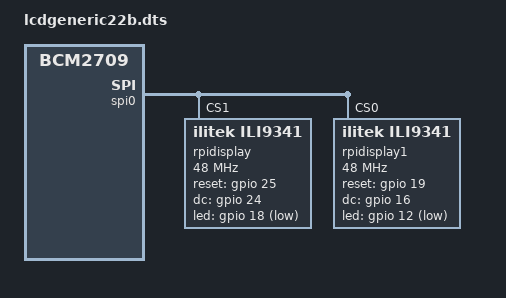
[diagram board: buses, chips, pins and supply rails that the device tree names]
/*
 * Device Tree overlay for 2.2" SPI TFT
 */

/dts-v1/;
/plugin/;

/ {
	compatible = "brcm,bcm2835", "brcm,bcm2708", "brcm,bcm2709";

	fragment@0 {
		target = <&spi0>;
		__overlay__ {
			status = "okay";

			spidev@0{
				status = "disabled";
			};

			spidev@1{
				status = "disabled";
			};
		};
	};

	fragment@1 {
		target = <&gpio>;
		__overlay__ {
			rpi_display_pins: rpi_display_pins {
				brcm,pins = <18 25 24>;
				brcm,function = <1 1 1>; /* out out out */
			};
			rpi_display_pins1: rpi_display_pins1 {
				brcm,pins = <12 16 19>;
				brcm,function = <1 1 1>; /* out out out */
			};
		};
	};

	fragment@2 {
		target = <&spi0>;
		__overlay__ {
			/* needed to avoid dtc warning */
			#address-cells = <1>;
			#size-cells = <0>;

			rpidisplay: rpi-display@0{
				compatible = "ilitek,ili9341";
				reg = <1>;
				pinctrl-names = "default";
				pinctrl-0 = <&rpi_display_pins>;

				spi-max-frequency = <48000000>;
				rotate = <90>;
				bgr;
				fps = <30>;
				buswidth = <8>;
				reset-gpios = <&gpio 25 0>;
				dc-gpios = <&gpio 24 0>;
				led-gpios = <&gpio 18 1>;
				debug = <0>;
			};

			rpidisplay1: rpi-display@1{
				compatible = "ilitek,ili9341";
				reg = <0>;
				pinctrl-names = "default";
				pinctrl-0 = <&rpi_display_pins1>;

				spi-max-frequency = <48000000>;
				rotate = <90>;
				bgr;
				fps = <30>;
				buswidth = <8>;
				reset-gpios = <&gpio 19 0>;
				dc-gpios = <&gpio 16 0>;
				led-gpios = <&gpio 12 1>;
				debug = <0>;
			};
		};
	};
	__overrides__ {
		speed =   <&rpidisplay>,"spi-max-frequency:0";
		rotate =  <&rpidisplay>,"rotate:0";
		fps =     <&rpidisplay>,"fps:0";
		debug =   <&rpidisplay>,"debug:0";
	};
};
